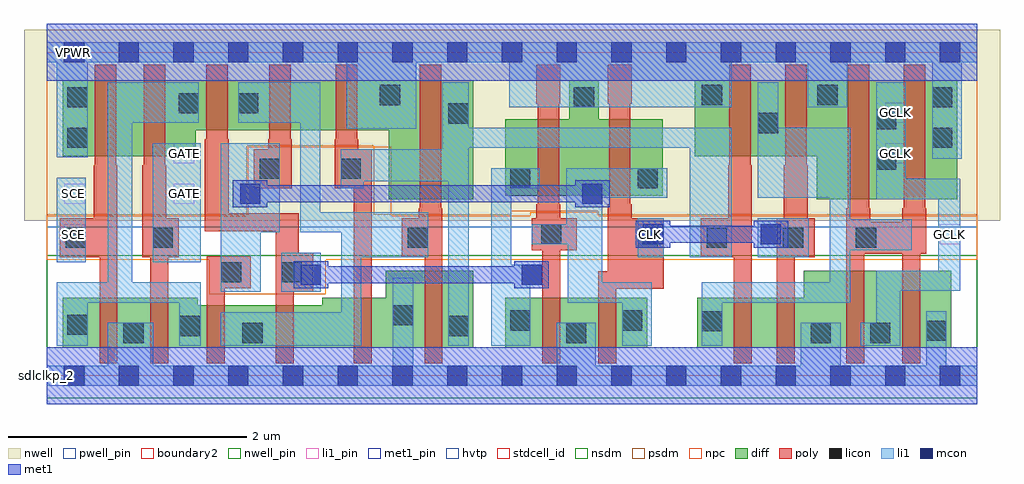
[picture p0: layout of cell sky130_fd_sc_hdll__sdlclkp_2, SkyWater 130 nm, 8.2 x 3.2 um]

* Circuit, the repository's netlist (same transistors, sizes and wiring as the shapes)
* Copyright 2020 The SkyWater PDK Authors
*
* Licensed under the Apache License, Version 2.0 (the "License");
* you may not use this file except in compliance with the License.
* You may obtain a copy of the License at
*
*     https://www.apache.org/licenses/LICENSE-2.0
*
* Unless required by applicable law or agreed to in writing, software
* distributed under the License is distributed on an "AS IS" BASIS,
* WITHOUT WARRANTIES OR CONDITIONS OF ANY KIND, either express or implied.
* See the License for the specific language governing permissions and
* limitations under the License.
*
* SPDX-License-Identifier: Apache-2.0

.SUBCKT sky130_fd_sc_hdll__sdlclkp_2 CLK GATE SCE VGND VNB VPB VPWR GCLK
*.PININFO CLK:I GATE:I SCE:I VGND:I VNB:I VPB:I VPWR:I GCLK:O
MI662 net88 m1 VPWR VPB sky130_fd_pr__pfet_01v8_hvt m=1 w=0.42U l=0.18U mult=1
+ sa=0.265 sb=0.265 sd=0.28 area=0.063 perim=1.14
MI664 M0 clkpos net88 VPB sky130_fd_pr__pfet_01v8_hvt m=1 w=0.42U l=0.18U mult=1
+ sa=0.265 sb=0.265 sd=0.28 area=0.063 perim=1.14
MI659 net76 CLK VPWR VPB sky130_fd_pr__pfet_01v8_hvt m=1 w=0.64U l=0.18U mult=1
+ sa=0.265 sb=0.265 sd=0.28 area=0.063 perim=1.14
MI658 net76 m1 VPWR VPB sky130_fd_pr__pfet_01v8_hvt m=1 w=0.64U l=0.18U mult=1
+ sa=0.265 sb=0.265 sd=0.28 area=0.063 perim=1.14
MI19 m1 M0 VPWR VPB sky130_fd_pr__pfet_01v8_hvt m=1 w=1.0U l=0.18U mult=1 sa=0.265
+ sb=0.265 sd=0.28 area=0.063 perim=1.14
MI22 net63 SCE VPWR VPB sky130_fd_pr__pfet_01v8_hvt m=1 w=0.64U l=0.18U mult=1
+ sa=0.265 sb=0.265 sd=0.28 area=0.063 perim=1.14
MI21 net116 GATE net63 VPB sky130_fd_pr__pfet_01v8_hvt m=1 w=0.64U l=0.18U mult=1
+ sa=0.265 sb=0.265 sd=0.28 area=0.063 perim=1.14
MI47 clkneg clkpos VPWR VPB sky130_fd_pr__pfet_01v8_hvt m=1 w=0.64U l=0.18U mult=1
+ sa=0.265 sb=0.265 sd=0.28 area=0.063 perim=1.14
MI45 clkpos CLK VPWR VPB sky130_fd_pr__pfet_01v8_hvt m=1 w=0.64U l=0.18U mult=1
+ sa=0.265 sb=0.265 sd=0.28 area=0.063 perim=1.14
MI660 GCLK net76 VPWR VPB sky130_fd_pr__pfet_01v8_hvt m=2 w=1.0U l=0.18U mult=1
+ sa=0.265 sb=0.265 sd=0.28 area=0.063 perim=1.14
MI43 net116 clkneg M0 VPB sky130_fd_pr__pfet_01v8_hvt m=1 w=0.42U l=0.18U mult=1
+ sa=0.265 sb=0.265 sd=0.28 area=0.063 perim=1.14
MI42 net116 clkpos M0 VNB sky130_fd_pr__nfet_01v8 m=1 w=0.36U l=0.15U mult=1 sa=0.265
+ sb=0.265 sd=0.28 area=0.063 perim=1.14
MI20 m1 M0 VGND VNB sky130_fd_pr__nfet_01v8 m=1 w=0.65U l=0.15U mult=1 sa=0.265
+ sb=0.265 sd=0.28 area=0.063 perim=1.14
MI655 M0 clkneg net123 VNB sky130_fd_pr__nfet_01v8 m=1 w=0.36U l=0.15U mult=1 sa=0.265
+ sb=0.265 sd=0.28 area=0.063 perim=1.14
MI654 net123 m1 VGND VNB sky130_fd_pr__nfet_01v8 m=1 w=0.42U l=0.15U mult=1 sa=0.265
+ sb=0.265 sd=0.28 area=0.063 perim=1.14
MI24 net116 SCE VGND VNB sky130_fd_pr__nfet_01v8 m=1 w=0.42U l=0.15U mult=1 sa=0.265
+ sb=0.265 sd=0.28 area=0.063 perim=1.14
MI657 net112 CLK VGND VNB sky130_fd_pr__nfet_01v8 m=1 w=0.42U l=0.15U mult=1 sa=0.265
+ sb=0.265 sd=0.28 area=0.063 perim=1.14
MI656 net76 m1 net112 VNB sky130_fd_pr__nfet_01v8 m=1 w=0.42U l=0.15U mult=1 sa=0.265
+ sb=0.265 sd=0.28 area=0.063 perim=1.14
MI23 net116 GATE VGND VNB sky130_fd_pr__nfet_01v8 m=1 w=0.42U l=0.15U mult=1 sa=0.265
+ sb=0.265 sd=0.28 area=0.063 perim=1.14
MI46 clkneg clkpos VGND VNB sky130_fd_pr__nfet_01v8 m=1 w=0.42U l=0.15U mult=1
+ sa=0.265 sb=0.265 sd=0.28 area=0.063 perim=1.14
MI44 clkpos CLK VGND VNB sky130_fd_pr__nfet_01v8 m=1 w=0.42U l=0.15U mult=1 sa=0.265
+ sb=0.265 sd=0.28 area=0.063 perim=1.14
MI653 GCLK net76 VGND VNB sky130_fd_pr__nfet_01v8 m=2 w=0.65U l=0.15U mult=1 sa=0.265
+ sb=0.265 sd=0.28 area=0.063 perim=1.14
.ENDS sky130_fd_sc_hdll__sdlclkp_2

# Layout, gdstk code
import gdstk
lib = gdstk.Library(unit=1e-6, precision=1e-09)
def R(c, l, rs):  # rectangles x0, y0, x1, y1
    for r in rs: c.add(gdstk.rectangle(r[:2], r[2:], *l))
def A(c, l, x, y, w, h, nx, ny, dx, dy):  # array of equal rectangles
    R(c, l, [(x+i*dx, y+j*dy, x+i*dx+w, y+j*dy+h) for i in range(nx) for j in range(ny)])
def P(c, l, *ps):  # polygons
    for p in ps: c.add(gdstk.Polygon(p, *l))
nwell_pin = (64, 16)
nwell = (64, 20)
diff = (65, 20)
poly = (66, 20)
licon = (66, 44)
li1_pin = (67, 16)
li1 = (67, 20)
mcon = (67, 44)
met1_pin = (68, 16)
met1 = (68, 20)
hvtp = (78, 44)
stdcell_id = (81, 4)
nsdm = (93, 44)
psdm = (94, 20)
npc = (95, 20)
pwell_pin = (122, 16)
boundary2 = (236, 0)

sky130_fd_sc_hdll__sdlcl = lib.new_cell('sky130_fd_sc_hdll__sdlclkp_2')
R(sky130_fd_sc_hdll__sdlcl, nwell_pin, [(0.15,2.635,0.32,2.805)])
R(sky130_fd_sc_hdll__sdlcl, nwell, [(-0.19,1.305,8.01,2.91)])
R(sky130_fd_sc_hdll__sdlcl, diff, [(3.855,0.235,5.045,0.655)])
P(sky130_fd_sc_hdll__sdlcl, diff, [(3.585,2.485),(0.135,2.485),(0.135,1.845),(1.255,1.845),(1.255,2.065),(2.875,2.065),(2.875,1.485),(3.585,1.485)],
  [(3.585,0.885),(2.85,0.885),(2.85,0.655),(2.315,0.655),(2.315,0.595),(1.27,0.595),(1.27,0.655),(0.135,0.655),(0.135,0.235),(3.585,0.235)],
  [(5.175,2.155),(4.64,2.155),(4.64,2.485),(4.39,2.485),(4.39,2.155),(3.855,2.155),(3.855,1.515),(5.175,1.515)],
  [(7.65,2.485),(5.445,2.485),(5.445,1.845),(6.47,1.845),(6.47,1.485),(7.65,1.485)],
  [(7.6,0.885),(6.36,0.885),(6.36,0.655),(5.465,0.655),(5.465,0.235),(7.6,0.235)])
P(sky130_fd_sc_hdll__sdlcl, poly, [(0.595,1.77),(0.585,1.77),(0.585,2.615),(0.405,2.615),(0.405,1.77),(0.395,1.77),(0.395,1.325),(0.11,1.325),(0.11,0.995),(0.445,0.995),(0.445,0.105),(0.595,0.105)],
  [(1.11,1.325),(1.005,1.325),(1.005,1.77),(0.995,1.77),(0.995,2.615),(0.815,2.615),(0.815,1.77),(0.805,1.77),(0.805,0.995),(0.87,0.995),(0.87,0.105),(1.02,0.105),(1.02,0.995),(1.11,0.995)],
  [(1.715,1.005),(1.345,1.005),(1.345,0.105),(1.495,0.105),(1.495,0.735),(1.715,0.735)],
  [(2.06,1.99),(2.05,1.99),(2.05,2.615),(1.87,2.615),(1.87,1.99),(1.86,1.99),(1.86,1.905),(1.74,1.905),(1.74,1.575),(2.06,1.575)],
  [(2.24,1.035),(2.12,1.035),(2.12,1.365),(1.53,1.365),(1.53,1.99),(1.52,1.99),(1.52,2.615),(1.34,2.615),(1.34,1.99),(1.33,1.99),(1.33,1.215),(1.925,1.215),(1.925,0.105),(2.075,0.105),(2.075,0.705),(2.24,0.705)],
  [(2.73,1.905),(2.62,1.905),(2.62,1.99),(2.61,1.99),(2.61,2.615),(2.43,2.615),(2.43,1.99),(2.42,1.99),(2.42,1.575),(2.58,1.575),(2.58,0.105),(2.73,0.105)],
  [(3.325,1.41),(3.315,1.41),(3.315,2.615),(3.135,2.615),(3.135,1.41),(3.125,1.41),(3.125,1.325),(2.985,1.325),(2.985,0.995),(3.175,0.995),(3.175,0.105),(3.325,0.105)],
  [(4.455,1.325),(4.315,1.325),(4.315,1.44),(4.305,1.44),(4.305,2.285),(4.315,2.285),(4.315,2.615),(4.115,2.615),(4.115,2.285),(4.125,2.285),(4.125,1.44),(4.115,1.44),(4.115,1.325),(4.075,1.325),(4.075,1.055),(4.165,1.055),(4.165,0.105),(4.315,0.105),(4.315,1.055),(4.455,1.055)],
  [(5.185,1.325),(4.915,1.325),(4.915,1.44),(4.905,1.44),(4.905,2.285),(4.915,2.285),(4.915,2.615),(4.715,2.615),(4.715,2.285),(4.725,2.285),(4.725,1.44),(4.715,1.44),(4.715,0.88),(4.635,0.88),(4.635,0.105),(4.785,0.105),(4.785,0.73),(5.185,0.73)],
  [(5.925,1.77),(5.915,1.77),(5.915,2.615),(5.735,2.615),(5.735,1.77),(5.725,1.77),(5.725,1.325),(5.495,1.325),(5.495,0.995),(5.775,0.995),(5.775,0.105),(5.925,0.105)],
  [(6.455,1.325),(6.395,1.325),(6.395,1.77),(6.385,1.77),(6.385,2.615),(6.205,2.615),(6.205,1.77),(6.195,1.77),(6.195,1.325),(6.135,1.325),(6.135,0.105),(6.285,0.105),(6.285,0.995),(6.455,0.995)],
  [(7.39,1.41),(7.38,1.41),(7.38,2.615),(7.2,2.615),(7.2,1.41),(7.19,1.41),(7.19,1.295),(6.92,1.295),(6.92,1.41),(6.91,1.41),(6.91,2.615),(6.73,2.615),(6.73,1.41),(6.72,1.41),(6.72,0.105),(6.87,0.105),(6.87,1.025),(7.19,1.025),(7.19,0.105),(7.34,0.105),(7.34,1.025),(7.39,1.025)])
R(sky130_fd_sc_hdll__sdlcl, licon, [(0.645,0.275,0.815,0.445), (1.645,0.275,1.815,0.445), (4.365,0.275,4.535,0.445), (6.42,0.275,6.59,0.445), (6.92,0.275,7.09,0.445), (7.39,0.295,7.56,0.465), (1.115,0.335,1.285,0.505), (3.375,0.335,3.545,0.505), (0.175,0.345,0.345,0.515), (5.505,0.375,5.675,0.545), (3.895,0.38,4.065,0.55), (4.835,0.38,5.005,0.55), (2.91,0.425,3.08,0.595), (1.465,0.785,1.635,0.955), (1.975,0.785,2.145,0.955), (0.16,1.075,0.33,1.245), (0.89,1.075,1.06,1.245), (3.035,1.075,3.205,1.245), (4.965,1.075,5.135,1.245), (5.545,1.075,5.715,1.245), (6.185,1.075,6.355,1.245), (6.8,1.075,6.97,1.245), (4.155,1.105,4.325,1.275), (3.895,1.575,4.065,1.745), (4.965,1.575,5.135,1.745), (1.79,1.655,1.96,1.825), (2.47,1.655,2.64,1.825), (6.97,1.73,7.14,1.9), (0.175,1.915,0.345,2.085), (7.44,1.915,7.61,2.085), (5.975,2.04,6.145,2.21), (6.97,2.07,7.14,2.24), (3.375,2.12,3.545,2.29), (1.11,2.205,1.28,2.375), (1.61,2.205,1.78,2.375), (0.175,2.255,0.345,2.425), (4.43,2.255,4.6,2.425), (7.44,2.255,7.61,2.425), (2.8,2.275,2.97,2.445), (5.505,2.275,5.675,2.445), (6.475,2.275,6.645,2.445)])
R(sky130_fd_sc_hdll__sdlcl, li1_pin, [(0.15,1.105,0.32,1.275), (7.505,1.105,7.675,1.275), (0.15,1.445,0.32,1.615), (1.07,1.445,1.24,1.615), (1.07,1.785,1.24,1.955), (7.045,1.785,7.215,1.955), (7.045,2.125,7.215,2.295)])
R(sky130_fd_sc_hdll__sdlcl, li1, [(1.97,0.705,2.305,1.035), (0.085,0.955,0.33,1.665), (0.89,0.955,1.295,1.955), (4.965,0.995,5.185,1.325), (5.975,0.995,6.405,1.325)])
P(sky130_fd_sc_hdll__sdlcl, li1, [(7.27,1.315),(6.75,1.315),(6.75,2.085),(6.145,2.085),(6.145,2.465),(5.975,2.465),(5.975,1.495),(6.58,1.495),(6.58,0.785),(5.505,0.785),(5.505,0.255),(5.675,0.255),(5.675,0.615),(6.75,0.615),(6.75,1.055),(7.27,1.055)],
  [(7.675,1.655),(7.22,1.655),(7.22,2.465),(6.97,2.465),(6.97,1.485),(7.49,1.485),(7.49,0.885),(6.97,0.885),(6.97,0.445),(6.84,0.445),(6.84,0.255),(7.17,0.255),(7.17,0.715),(7.675,0.715)],
  [(7.82,2.805),(0,2.805),(0,2.635),(0.085,2.635),(0.085,1.835),(0.345,1.835),(0.345,2.635),(2.52,2.635),(2.52,2.075),(3.105,2.075),(3.105,2.635),(3.885,2.635),(3.885,2.255),(5.755,2.255),(5.755,2.635),(6.395,2.635),(6.395,2.255),(6.725,2.255),(6.725,2.635),(7.44,2.635),(7.44,1.825),(7.69,1.825),(7.69,2.635),(7.82,2.635)],
  [(7.82,0.085),(7.56,0.085),(7.56,0.545),(7.39,0.545),(7.39,0.085),(6.67,0.085),(6.67,0.445),(6.335,0.445),(6.335,0.085),(4.615,0.085),(4.615,0.445),(4.285,0.445),(4.285,0.085),(3.08,0.085),(3.08,0.825),(2.91,0.825),(2.91,0.085),(0.895,0.085),(0.895,0.445),(0.515,0.445),(0.515,0.085),(0,0.085),(0,-0.085),(7.82,-0.085)],
  [(1.28,2.465),(0.515,2.465),(0.515,0.785),(0.085,0.785),(0.085,0.255),(0.345,0.255),(0.345,0.615),(1.115,0.615),(1.115,0.255),(1.295,0.255),(1.295,0.785),(0.72,0.785),(0.72,2.125),(1.28,2.125)],
  [(1.96,1.955),(1.465,1.955),(1.465,0.705),(1.8,0.705),(1.8,1.205),(1.96,1.205)],
  [(3.205,1.375),(2.3,1.375),(2.3,2.465),(1.61,2.465),(1.61,2.125),(2.13,2.125),(2.13,1.205),(2.475,1.205),(2.475,0.535),(1.465,0.535),(1.465,0.255),(2.645,0.255),(2.645,0.995),(3.205,0.995)],
  [(4.16,0.935),(3.905,0.935),(3.905,1.575),(4.145,1.575),(4.145,1.745),(3.735,1.745),(3.735,0.255),(4.065,0.255),(4.065,0.765),(4.16,0.765)],
  [(5.215,1.745),(4.365,1.745),(4.365,1.275),(4.075,1.275),(4.075,1.105),(4.38,1.105),(4.38,0.615),(4.835,0.615),(4.835,0.255),(5.085,0.255),(5.085,0.785),(4.67,0.785),(4.67,1.495),(5.215,1.495)],
  [(5.755,2.085),(3.545,2.085),(3.545,2.465),(3.325,2.465),(3.325,1.905),(2.47,1.905),(2.47,1.575),(2.665,1.575),(2.665,1.635),(3.375,1.635),(3.375,0.255),(3.545,0.255),(3.545,1.915),(5.405,1.915),(5.405,0.995),(5.755,0.995)])
A(sky130_fd_sc_hdll__sdlcl, mcon, 0.145, -0.085, 0.17, 0.17, 17, 2, 0.46, 2.72)
R(sky130_fd_sc_hdll__sdlcl, mcon, [(2.135,0.765,2.305,0.935), (3.99,0.765,4.16,0.935), (5.01,1.105,5.18,1.275), (6,1.105,6.17,1.275), (1.625,1.445,1.795,1.615), (4.5,1.445,4.67,1.615)])
R(sky130_fd_sc_hdll__sdlcl, met1_pin, [(0.15,-0.085,0.32,0.085), (4.97,1.105,5.14,1.275), (0.15,2.635,0.32,2.805)])
R(sky130_fd_sc_hdll__sdlcl, met1, [(0,-0.24,7.82,0.24), (0,2.48,7.82,2.96)])
P(sky130_fd_sc_hdll__sdlcl, met1, [(4.73,1.645),(4.44,1.645),(4.44,1.6),(1.855,1.6),(1.855,1.645),(1.565,1.645),(1.565,1.415),(1.855,1.415),(1.855,1.46),(4.44,1.46),(4.44,1.415),(4.73,1.415)],
  [(6.23,1.305),(5.94,1.305),(5.94,1.26),(5.24,1.26),(5.24,1.305),(4.95,1.305),(4.95,1.075),(5.24,1.075),(5.24,1.12),(5.94,1.12),(5.94,1.075),(6.23,1.075)],
  [(4.22,0.965),(3.93,0.965),(3.93,0.92),(2.365,0.92),(2.365,0.965),(2.075,0.965),(2.075,0.735),(2.365,0.735),(2.365,0.78),(3.93,0.78),(3.93,0.735),(4.22,0.735)])
R(sky130_fd_sc_hdll__sdlcl, hvtp, [(0,1.25,7.82,2.72)])
R(sky130_fd_sc_hdll__sdlcl, stdcell_id, [(0,0,7.82,2.72)])
R(sky130_fd_sc_hdll__sdlcl, nsdm, [(0,-0.19,7.82,1.015)])
P(sky130_fd_sc_hdll__sdlcl, psdm, [(7.82,2.91),(0,2.91),(0,1.355),(1.68,1.355),(1.68,1.935),(2.75,1.935),(2.75,1.355),(3.905,1.355),(3.905,1.385),(4.635,1.385),(4.635,1.355),(7.82,1.355)])
P(sky130_fd_sc_hdll__sdlcl, npc, [(7.82,1.345),(4.635,1.345),(4.635,1.375),(4.065,1.375),(4.065,1.345),(2.895,1.345),(2.895,1.925),(1.69,1.925),(1.69,1.345),(0,1.345),(0,0.975),(1.365,0.975),(1.365,0.685),(2.345,0.685),(2.345,0.975),(7.82,0.975)])
R(sky130_fd_sc_hdll__sdlcl, pwell_pin, [(0.15,-0.085,0.32,0.085)])
R(sky130_fd_sc_hdll__sdlcl, boundary2, [(0,0,7.82,2.72)])
sky130_fd_sc_hdll__sdlcl.add(gdstk.Label('sdlclkp_2', (0,0), layer=83, texttype=44))
sky130_fd_sc_hdll__sdlcl.add(gdstk.Label('CLK', (5.075,1.19), layer=68, texttype=5))
sky130_fd_sc_hdll__sdlcl.add(gdstk.Label('VPWR', (0.23,2.72), layer=68, texttype=5))
sky130_fd_sc_hdll__sdlcl.add(gdstk.Label('VGND', (0.23,0), layer=68, texttype=5))
sky130_fd_sc_hdll__sdlcl.add(gdstk.Label('GCLK', (7.585,1.19), layer=67, texttype=5))
sky130_fd_sc_hdll__sdlcl.add(gdstk.Label('SCE', (0.23,1.19), layer=67, texttype=5))
sky130_fd_sc_hdll__sdlcl.add(gdstk.Label('GATE', (1.155,1.53), layer=67, texttype=5))
sky130_fd_sc_hdll__sdlcl.add(gdstk.Label('GATE', (1.155,1.87), layer=67, texttype=5))
sky130_fd_sc_hdll__sdlcl.add(gdstk.Label('GCLK', (7.13,1.87), layer=67, texttype=5))
sky130_fd_sc_hdll__sdlcl.add(gdstk.Label('GCLK', (7.13,2.21), layer=67, texttype=5))
sky130_fd_sc_hdll__sdlcl.add(gdstk.Label('SCE', (0.23,1.53), layer=67, texttype=5))
sky130_fd_sc_hdll__sdlcl.add(gdstk.Label('VPB', (0.235,2.72), layer=64, texttype=5))
sky130_fd_sc_hdll__sdlcl.add(gdstk.Label('VNB', (0.235,0), layer=64, texttype=59))

lib.write_gds('sky130_fd_sc_hdll__sdlclkp_2.gds')
